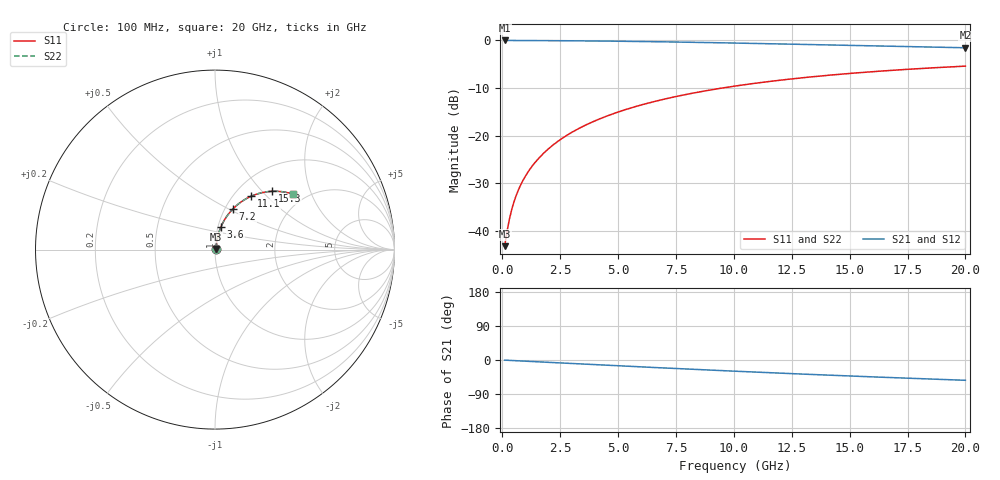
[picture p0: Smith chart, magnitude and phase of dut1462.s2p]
! Touchstone file exported from HFSS 2026.1.0
!  File:  C:/ffzhzh/LocalFiles/Ansys_Project_Files/temp_train_BSMRDL_1462_1783259975_30076.aedt
!  Generated:  10:01:10 PM Jul  5, 2026
!  Design:  BSMRDL
!  Project:  temp_train_BSMRDL_1462_1783259975_30076
! Variables:
!  h_bsmrdl = 2.37um
!  h_ox = 20um
!  h_rdl = 5um
!  h_sub = 80um
!  h_tmrdl = 5um
!  h_tsv = 80um
!  h_via = 3um
!  l_bsmrdl = 754.72um
!  l_sub = 1154.72um
!  l_tmrdl = 200um
!  m_sub = 200um
!  pitch = 57.75um
!  r_tsv = 6um
!  s_tmrdl = 10um
!  w_bsmrdl = 20.45um
!  w_sub = 500um
!  w_tmrdl = 12um
!  x_tsv_center1 = 206um
!  x_tsv_center2 = 981.17um
!  x_tsv_center3 = 1193.17um
!  x_tsv_center4 = 1968.34um
!  x_tsv_center5 = 2180.34um
!  x_tsv_center6 = 2955.51um
# GHz S MA R 50.000000
! Terminal data exported
! Port[1] = BSM_RDL1_1_T1
! Port[2] = BSM_RDL1_1_T2
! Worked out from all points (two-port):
!   200 points, 100 MHz to 20 GHz, reference 50 ohm
!   highest |S21| = -0.05 dB at 100 MHz (marker M1); lowest = -1.6 dB at 20 GHz (marker M2)
!   |S21| within 3 dB of the highest: start of sweep to end of sweep
!   lowest |S11| = -43.2 dB at 100 MHz (marker M3), VSWR 1.01, Z = 50.6 + j0.39 ohm
!   |S11| at or under -10 dB: start of sweep to 9.545 GHz
!   |S22| runs from -43.2 to -5.4 dB; largest |S21 - S12| = 1.4e-14
!   S11 on the Smith chart (normalised r, x): 100 MHz: 1.01, +0.01; 3.6 GHz: 1.03, +0.26; 7.2 GHz: 1.09, +0.52; 11.1 GHz: 1.20, +0.82; 15.3 GHz: 1.39, +1.14; 20 GHz: 1.73, +1.49
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0.1  0.006895 34.0  0.9943 -0.3  0.9943 -0.3  0.006895 34.0
! Gamma 0 0 0 0
! Port Impedance 50 0 50 0
0.2  0.009682 52.5  0.9942 -0.6  0.9942 -0.6  0.009682 52.5
0.3  0.01299 61.6  0.9939 -1.0  0.9939 -1.0  0.01299 61.6
0.4  0.01645 66.7  0.9937 -1.3  0.9937 -1.3  0.01645 66.7
0.5  0.01995 69.9  0.9935 -1.6  0.9935 -1.6  0.01995 69.9
0.6  0.02346 72.0  0.9932 -1.9  0.9932 -1.9  0.02346 72.0
0.8  0.03048 74.7  0.9928 -2.5  0.9928 -2.5  0.03048 74.7
1.1  0.04101 76.7  0.9922 -3.4  0.9922 -3.4  0.04101 76.7
1.6  0.05863 77.9  0.991 -5.0  0.991 -5.0  0.05862 77.9
2.1  0.07626 77.9  0.9897 -6.5  0.9897 -6.5  0.07626 77.9
2.7  0.09735 77.2  0.9877 -8.3  0.9877 -8.3  0.09735 77.2
3.5  0.1252 75.7  0.9844 -10.7  0.9844 -10.7  0.1252 75.7
3.6  0.1287 75.5  0.9839 -11.0  0.9839 -11.0  0.1287 75.5
5  0.1763 72.1  0.9761 -15.2  0.9761 -15.2  0.1762 72.1
6.8  0.2347 67.4  0.9633 -20.5  0.9633 -20.5  0.2347 67.4
7.2  0.2471 66.3  0.96 -21.6  0.96 -21.6  0.2471 66.3
10.1  0.3315 58.6  0.9335 -29.7  0.9335 -29.7  0.3315 58.6
11.1  0.358 56.0  0.9234 -32.4  0.9234 -32.4  0.358 56.0
13.4  0.4136 50.2  0.8995 -38.3  0.8995 -38.3  0.4135 50.2
15.3  0.454 45.7  0.8796 -42.9  0.8796 -42.9  0.454 45.7
16.7  0.4808 42.4  0.8652 -46.2  0.8652 -46.2  0.4808 42.5
20  0.5345 35.2  0.8332 -53.5  0.8332 -53.5  0.5344 35.3
